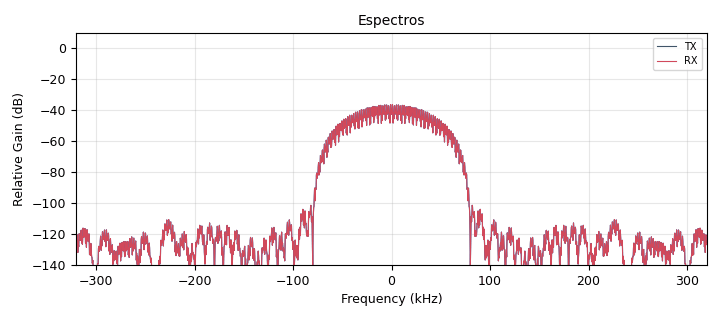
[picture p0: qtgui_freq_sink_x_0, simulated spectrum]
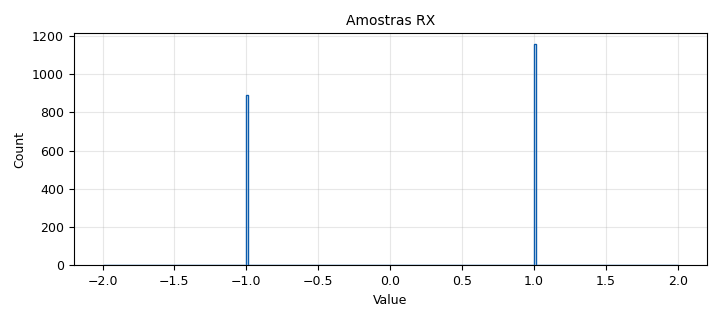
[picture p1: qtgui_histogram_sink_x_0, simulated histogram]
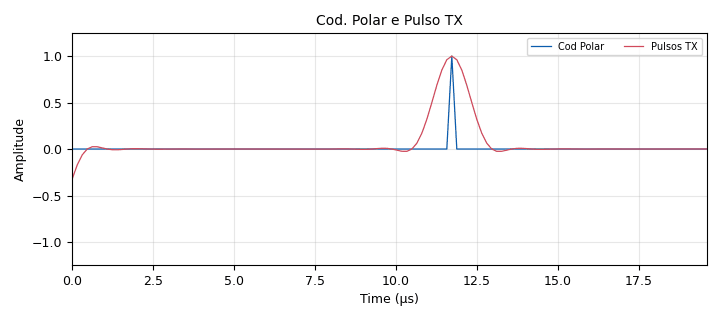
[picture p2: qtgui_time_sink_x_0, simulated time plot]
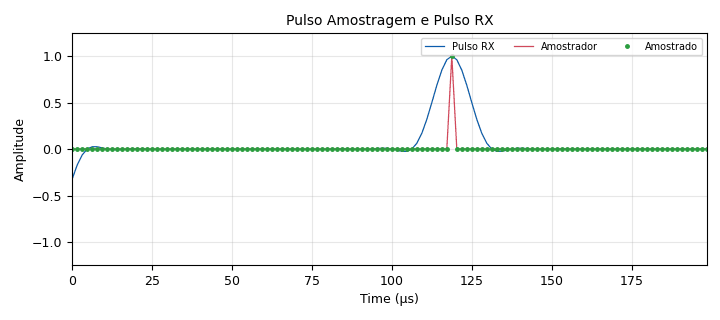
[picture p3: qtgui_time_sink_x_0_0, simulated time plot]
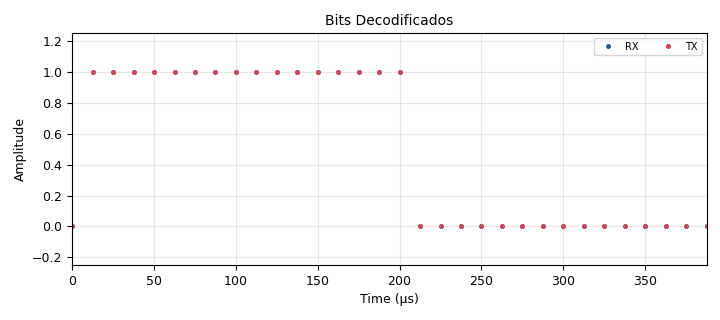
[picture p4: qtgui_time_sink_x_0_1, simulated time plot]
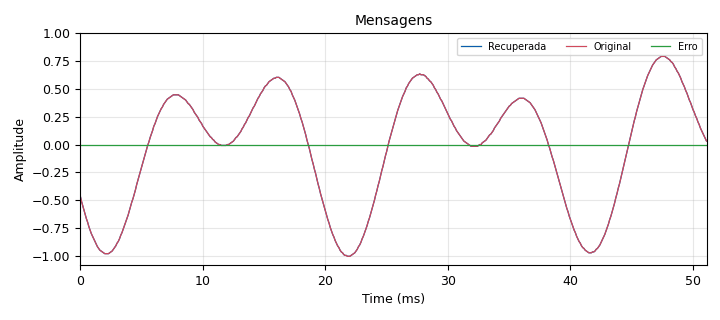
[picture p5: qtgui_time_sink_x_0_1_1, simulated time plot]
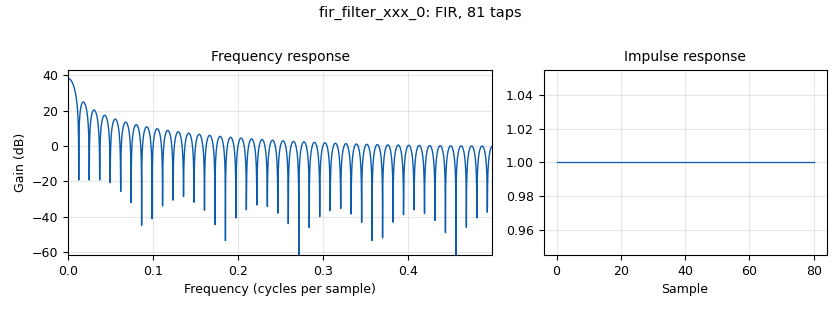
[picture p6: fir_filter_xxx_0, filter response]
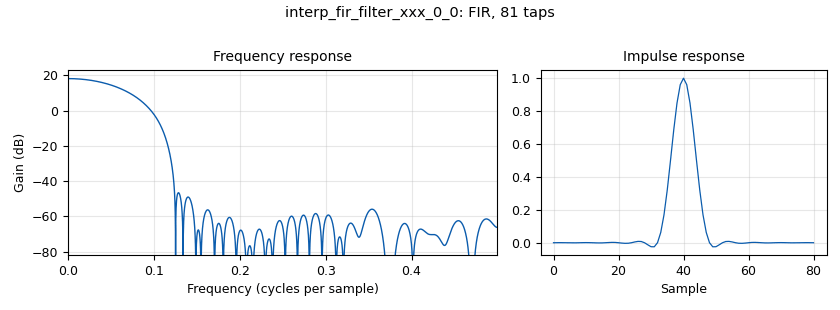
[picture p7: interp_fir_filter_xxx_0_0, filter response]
<?xml version='1.0' encoding='utf-8'?>
<?grc format='1' created='3.7.13'?>
<flow_graph>
<block>
<key>options</key>
<param><key>id</key><value>top_block</value></param>
<param><key>generate_options</key><value>qt_gui</value></param>
</block>
<block>
<key>variable</key>
<param><key>id</key><value>C_1</value></param>
<param><key>value</key><value>np.array([0.0000, 0.0001, 0.0002, 0.0001, -0.0000, -0.0001, -0.0002, -0.0002, 0.0000, 0.0002, 0.0003, 0.0002, -0.0000, -0.0003, -0.0005, -0.0004, 0.0000, 0.0005, 0.0008, 0.0007, -0.0000, -0.0009, -0.0015, -0.0013, 0.0000, 0.0019, 0.0033, 0.0030, -0.0000, -0.0051, -0.0099, -0.0101, 0.0000, 0.0255, 0.0693, 0.1307, 0.2041, 0.2800, 0.3465, 0.3921,0.4082, 0.3921, 0.3465, 0.2800, 0.2041, 0.1307, 0.0693, 0.0255, 0.0000,-0.0101, -0.0099, -0.0051, -0.0000, 0.0030, 0.0033, 0.0019, 0.0000, -0.0013, -0.0015, -0.0009, -0.0000, 0.0007, 0.0008, 0.0005, 0.0000, -0.0004, -0.0005, -0.0003, -0.0000, 0.0002, 0.0003, 0.0002, 0.0000, -0.0002, -0.0002, -0.0001, -0.0000, 0.0001, 0.0002, 0.0001,0.0000])/0.4082</value></param>
</block>
<block>
<key>variable</key>
<param><key>id</key><value>C_2</value></param>
<param><key>value</key><value>np.array([0.0000, -0.0001, -0.0003, -0.0007, -0.0010, -0.0012, -0.0011, -0.0007, 0.0000, 0.0008, 0.0016, 0.0021, 0.0022,0.0018, 0.0010, 0.0003, 0.0000, 0.0004, 0.0018, 0.0040,0.0065, 0.0084, 0.0086, 0.0060, -0.0000, -0.0096, -0.0218, -0.0347, -0.0454, -0.0504, -0.0463, -0.0301, 0.0000, 0.0438,0.0992, 0.1621, 0.2269, 0.2868, 0.3353, 0.3670, 0.3780,0.3670, 0.3353, 0.2868, 0.2269, 0.1621, 0.0992, 0.0438,0.0000, -0.0301, -0.0463, -0.0504, -0.0454, -0.0347, -0.0218, -0.0096, -0.0000, 0.0060, 0.0086, 0.0084, 0.0065, 0.0040,0.0018, 0.0004, 0.0000, 0.0003, 0.0010, 0.0018, 0.0022,0.0021, 0.0016, 0.0008, 0.0000, -0.0007, -0.0011, -0.0012, -0.0010, -0.0007, -0.0003, -0.0001, 0.0000])/0.3780</value></param>
</block>
<block>
<key>variable</key>
<param><key>id</key><value>C_3</value></param>
<param><key>value</key><value>np.array([0.0000, 0.0071, 0.0137, 0.0186, 0.0209, 0.0201,0.0160, 0.0090, -0.0000, -0.0098, -0.0188, -0.0257, -0.0290, -0.0281, -0.0225, -0.0128, 0.0000, 0.0141, 0.0273, 0.0377,0.0431, 0.0421, 0.0342, 0.0197, -0.0000, -0.0226, -0.0448, -0.0633, -0.0746, -0.0754, -0.0637, -0.0384, 0.0000, 0.0496,0.1071, 0.1682, 0.2279, 0.2810, 0.3229, 0.3496, 0.3588,0.3496, 0.3229, 0.2810, 0.2279, 0.1682, 0.1071, 0.0496,0.0000, -0.0384, -0.0637, -0.0754, -0.0746, -0.0633, -0.0448, -0.0226, -0.0000, 0.0197, 0.0342, 0.0421, 0.0431, 0.0377,0.0273, 0.0141, 0.0000, -0.0128, -0.0225, -0.0281, -0.0290, -0.0257, -0.0188, -0.0098, -0.0000, 0.0090, 0.0160, 0.0201,0.0209, 0.0186, 0.0137, 0.0071, 0.0000])/0.3588</value></param>
</block>
<block>
<key>variable</key>
<param><key>id</key><value>Iterp_rate</value></param>
<param><key>value</key><value>len(C_1)</value></param>
</block>
<block>
<key>variable</key>
<param><key>id</key><value>NPTS</value></param>
<param><key>value</key><value>8</value></param>
</block>
<block>
<key>variable</key>
<param><key>id</key><value>R_NRZ</value></param>
<param><key>value</key><value>8*[1]</value></param>
</block>
<block>
<key>variable</key>
<param><key>id</key><value>R_RZ</value></param>
<param><key>value</key><value>4*[1]+4*[0]</value></param>
</block>
<block>
<key>variable_qtgui_range</key>
<param><key>id</key><value>Sigma</value></param>
<param><key>value</key><value>0</value></param>
<param><key>gui_hint</key><value>3,0,1,3</value></param>
<param><key>orient</key><value>Qt.Horizontal</value></param>
<param><key>start</key><value>0</value></param>
<param><key>step</key><value>0.02</value></param>
<param><key>stop</key><value>2</value></param>
</block>
<block>
<key>variable</key>
<param><key>id</key><value>samp_rate</value></param>
<param><key>value</key><value>10000</value></param>
</block>
<block>
<key>analog_noise_source_x</key>
<param><key>id</key><value>analog_noise_source_x_0</value></param>
<param><key>amp</key><value>Sigma</value></param>
<param><key>noise_type</key><value>analog.GR_GAUSSIAN</value></param>
<param><key>type</key><value>float</value></param>
<param><key>seed</key><value>0</value></param>
</block>
<block>
<key>analog_sig_source_x</key>
<param><key>id</key><value>analog_sig_source_x_0</value></param>
<param><key>amp</key><value>0.5</value></param>
<param><key>freq</key><value>100</value></param>
<param><key>offset</key><value>0</value></param>
<param><key>type</key><value>float</value></param>
<param><key>samp_rate</key><value>samp_rate</value></param>
<param><key>waveform</key><value>analog.GR_COS_WAVE</value></param>
</block>
<block>
<key>analog_sig_source_x</key>
<param><key>id</key><value>analog_sig_source_x_0_0</value></param>
<param><key>amp</key><value>0.5</value></param>
<param><key>freq</key><value>53</value></param>
<param><key>offset</key><value>0</value></param>
<param><key>type</key><value>float</value></param>
<param><key>samp_rate</key><value>samp_rate</value></param>
<param><key>waveform</key><value>analog.GR_COS_WAVE</value></param>
</block>
<block>
<key>blocks_abs_xx</key>
<param><key>id</key><value>blocks_abs_xx_0</value></param>
<param><key>type</key><value>float</value></param>
</block>
<block>
<key>blocks_add_const_vxx</key>
<param><key>id</key><value>blocks_add_const_vxx_0</value></param>
<param><key>const</key><value>-0.5</value></param>
<param><key>type</key><value>float</value></param>
</block>
<block>
<key>blocks_add_const_vxx</key>
<param><key>id</key><value>blocks_add_const_vxx_1</value></param>
<param><key>const</key><value>1</value></param>
<param><key>type</key><value>float</value></param>
</block>
<block>
<key>blocks_add_xx</key>
<param><key>id</key><value>blocks_add_xx_0</value></param>
<param><key>type</key><value>float</value></param>
</block>
<block>
<key>blocks_add_xx</key>
<param><key>id</key><value>blocks_add_xx_0_0</value></param>
<param><key>type</key><value>float</value></param>
</block>
<block>
<key>blocks_char_to_float</key>
<param><key>id</key><value>blocks_char_to_float_0</value></param>
<param><key>scale</key><value>1</value></param>
</block>
<block>
<key>blocks_char_to_float</key>
<param><key>id</key><value>blocks_char_to_float_0_0</value></param>
<param><key>scale</key><value>128</value></param>
</block>
<block>
<key>blocks_delay</key>
<param><key>id</key><value>blocks_delay_0</value></param>
<param><key>delay</key><value>Iterp_rate/2</value></param>
<param><key>type</key><value>float</value></param>
</block>
<block>
<key>blocks_delay</key>
<param><key>id</key><value>blocks_delay_1</value></param>
<param><key>delay</key><value>1</value></param>
<param><key>type</key><value>float</value></param>
</block>
<block>
<key>blocks_delay</key>
<param><key>id</key><value>blocks_delay_1_0</value></param>
<param><key>delay</key><value>7</value></param>
<param><key>type</key><value>float</value></param>
</block>
<block>
<key>blocks_delay</key>
<param><key>id</key><value>blocks_delay_1_0_0</value></param>
<param><key>delay</key><value>1</value></param>
<param><key>type</key><value>float</value></param>
</block>
<block>
<key>blocks_delay</key>
<param><key>id</key><value>blocks_delay_2</value></param>
<param><key>delay</key><value>81</value></param>
<param><key>type</key><value>float</value></param>
</block>
<block>
<key>blocks_delay</key>
<param><key>id</key><value>blocks_delay_2_0</value></param>
<param><key>delay</key><value>6*81</value></param>
<param><key>type</key><value>float</value></param>
</block>
<block>
<key>blocks_delay</key>
<param><key>id</key><value>blocks_delay_2_0_0</value></param>
<param><key>delay</key><value>9*81</value></param>
<param><key>type</key><value>float</value></param>
</block>
<block>
<key>blocks_delay</key>
<param><key>id</key><value>blocks_delay_2_1</value></param>
<param><key>delay</key><value>5*81</value></param>
<param><key>type</key><value>float</value></param>
</block>
<block>
<key>blocks_delay</key>
<param><key>id</key><value>blocks_delay_2_1_0</value></param>
<param><key>delay</key><value>8*81</value></param>
<param><key>type</key><value>float</value></param>
</block>
<block>
<key>blocks_delay</key>
<param><key>id</key><value>blocks_delay_2_2</value></param>
<param><key>delay</key><value>4*81</value></param>
<param><key>type</key><value>float</value></param>
</block>
<block>
<key>blocks_delay</key>
<param><key>id</key><value>blocks_delay_2_2_0</value></param>
<param><key>delay</key><value>7*81</value></param>
<param><key>type</key><value>float</value></param>
</block>
<block>
<key>blocks_delay</key>
<param><key>id</key><value>blocks_delay_2_3</value></param>
<param><key>delay</key><value>3*81</value></param>
<param><key>type</key><value>float</value></param>
</block>
<block>
<key>blocks_delay</key>
<param><key>id</key><value>blocks_delay_2_4</value></param>
<param><key>delay</key><value>2*81</value></param>
<param><key>type</key><value>float</value></param>
</block>
<block>
<key>blocks_float_to_char</key>
<param><key>id</key><value>blocks_float_to_char_0</value></param>
<param><key>scale</key><value>128</value></param>
</block>
<block>
<key>blocks_float_to_char</key>
<param><key>id</key><value>blocks_float_to_char_0_0</value></param>
<param><key>scale</key><value>1</value></param>
</block>
<block>
<key>blocks_multiply_const_vxx</key>
<param><key>id</key><value>blocks_multiply_const_vxx_0</value></param>
<param><key>const</key><value>2</value></param>
<param><key>type</key><value>float</value></param>
</block>
<block>
<key>blocks_multiply_const_vxx</key>
<param><key>id</key><value>blocks_multiply_const_vxx_0_0</value></param>
<param><key>const</key><value>0.5</value></param>
<param><key>type</key><value>float</value></param>
</block>
<block>
<key>blocks_multiply_xx</key>
<param><key>id</key><value>blocks_multiply_xx_0</value></param>
<param><key>type</key><value>float</value></param>
</block>
<block>
<key>blocks_pack_k_bits_bb</key>
<param><key>id</key><value>blocks_pack_k_bits_bb_0</value></param>
<param><key>k</key><value>NPTS</value></param>
</block>
<block>
<key>blocks_sub_xx</key>
<param><key>id</key><value>blocks_sub_xx_0</value></param>
<param><key>_enabled</key><value>0</value></param>
<param><key>type</key><value>float</value></param>
</block>
<block>
<key>blocks_sub_xx</key>
<param><key>id</key><value>blocks_sub_xx_1</value></param>
<param><key>type</key><value>float</value></param>
</block>
<block>
<key>blocks_throttle</key>
<param><key>id</key><value>blocks_throttle_0</value></param>
<param><key>samples_per_second</key><value>samp_rate</value></param>
<param><key>type</key><value>float</value></param>
</block>
<block>
<key>blocks_unpack_k_bits_bb</key>
<param><key>id</key><value>blocks_unpack_k_bits_bb_0</value></param>
<param><key>k</key><value>NPTS</value></param>
</block>
<block>
<key>channels_quantizer</key>
<param><key>id</key><value>channels_quantizer_0</value></param>
<param><key>bits</key><value>NPTS</value></param>
</block>
<block>
<key>epy_block</key>
<param><key>id</key><value>epy_block_0</value></param>
<param><key>_source_code</key><value>"""
Embedded Python Blocks:

Each time this file is saved, GRC will instantiate the first class it finds
to get ports and parameters of your block. The arguments to __init__  will
be the parameters. All of them are required to have default values!
"""

import numpy as np
from gnuradio import gr


class blk(gr.sync_block):

    def __init__(self, passo=1):
        gr.sync_block.__init__(
            self,
            name='Decisor: SGN(in)',   # will show up in GRC
            in_sig=[np.float32],
            out_sig=[np.float32]
        )
        # if an attribute with the same name as a parameter is found,
        # a callback is registered (properties work, too).
        self.passo = passo

    def work(self, input_items, output_items):
        """example: multiply with constant"""
        output_items[0][:] = np.sign(input_items[0]) * self.passo
        return len(output_items[0])
</value></param>
<param><key>passo</key><value>1</value></param>
</block>
<block>
<key>fir_filter_xxx</key>
<param><key>id</key><value>fir_filter_xxx_0</value></param>
<param><key>decim</key><value>Iterp_rate</value></param>
<param><key>taps</key><value>Iterp_rate*[1]</value></param>
<param><key>type</key><value>fff</value></param>
</block>
<block>
<key>import</key>
<param><key>id</key><value>import_0</value></param>
<param><key>import</key><value>import numpy as np</value></param>
</block>
<block>
<key>interp_fir_filter_xxx</key>
<param><key>id</key><value>interp_fir_filter_xxx_0</value></param>
<param><key>interp</key><value>Iterp_rate</value></param>
<param><key>taps</key><value>1*[1]+(Iterp_rate -1)*[0]</value></param>
<param><key>type</key><value>fff</value></param>
</block>
<block>
<key>interp_fir_filter_xxx</key>
<param><key>id</key><value>interp_fir_filter_xxx_0_0</value></param>
<param><key>interp</key><value>Iterp_rate</value></param>
<param><key>taps</key><value>C_1</value></param>
<param><key>type</key><value>fff</value></param>
</block>
<block>
<key>qtgui_freq_sink_x</key>
<param><key>id</key><value>qtgui_freq_sink_x_0</value></param>
<param><key>bw</key><value>samp_rate*NPTS*8</value></param>
<param><key>fc</key><value>0</value></param>
<param><key>fftsize</key><value>2048</value></param>
<param><key>gui_hint</key><value>0,1</value></param>
<param><key>label1</key><value>TX</value></param>
<param><key>label2</key><value>RX</value></param>
<param><key>name</key><value>"Espectros"</value></param>
<param><key>nconnections</key><value>2</value></param>
<param><key>showports</key><value>True</value></param>
<param><key>type</key><value>float</value></param>
<param><key>wintype</key><value>firdes.WIN_BLACKMAN_hARRIS</value></param>
</block>
<block>
<key>qtgui_histogram_sink_x</key>
<param><key>id</key><value>qtgui_histogram_sink_x_0</value></param>
<param><key>accum</key><value>True</value></param>
<param><key>gui_hint</key><value>2,0</value></param>
<param><key>xmax</key><value>2</value></param>
<param><key>xmin</key><value>-2</value></param>
<param><key>name</key><value>"Amostras RX"</value></param>
<param><key>bins</key><value>300</value></param>
<param><key>size</key><value>2048</value></param>
<param><key>type</key><value>float</value></param>
</block>
<block>
<key>qtgui_time_sink_x</key>
<param><key>id</key><value>qtgui_time_sink_x_0</value></param>
<param><key>gui_hint</key><value>0,0</value></param>
<param><key>color1</key><value>"blue"</value></param>
<param><key>label1</key><value>Cod Polar</value></param>
<param><key>color2</key><value>"red"</value></param>
<param><key>label2</key><value>Pulsos TX</value></param>
<param><key>name</key><value>"Cod. Polar e Pulso TX"</value></param>
<param><key>nconnections</key><value>2</value></param>
<param><key>size</key><value>128</value></param>
<param><key>srate</key><value>samp_rate*NPTS*Iterp_rate</value></param>
<param><key>type</key><value>float</value></param>
<param><key>ymax</key><value>1.25</value></param>
<param><key>ymin</key><value>-1.25</value></param>
</block>
<block>
<key>qtgui_time_sink_x</key>
<param><key>id</key><value>qtgui_time_sink_x_0_0</value></param>
<param><key>gui_hint</key><value>0,2</value></param>
<param><key>color1</key><value>"blue"</value></param>
<param><key>label1</key><value>Pulso RX</value></param>
<param><key>color2</key><value>"red"</value></param>
<param><key>label2</key><value>Amostrador</value></param>
<param><key>color3</key><value>"green"</value></param>
<param><key>label3</key><value>Amostrado</value></param>
<param><key>marker3</key><value>0</value></param>
<param><key>style3</key><value>0</value></param>
<param><key>name</key><value>"Pulso Amostragem e Pulso RX"</value></param>
<param><key>nconnections</key><value>3</value></param>
<param><key>size</key><value>128</value></param>
<param><key>srate</key><value>samp_rate*NPTS*8</value></param>
<param><key>type</key><value>float</value></param>
<param><key>ymax</key><value>1.25</value></param>
<param><key>ymin</key><value>-1.25</value></param>
</block>
<block>
<key>qtgui_time_sink_x</key>
<param><key>id</key><value>qtgui_time_sink_x_0_1</value></param>
<param><key>gui_hint</key><value>1,0</value></param>
<param><key>color1</key><value>"blue"</value></param>
<param><key>label1</key><value>RX</value></param>
<param><key>marker1</key><value>0</value></param>
<param><key>style1</key><value>0</value></param>
<param><key>color2</key><value>"red"</value></param>
<param><key>label2</key><value>TX</value></param>
<param><key>marker2</key><value>0</value></param>
<param><key>style2</key><value>0</value></param>
<param><key>name</key><value>"Bits Decodificados"</value></param>
<param><key>nconnections</key><value>2</value></param>
<param><key>size</key><value>32</value></param>
<param><key>srate</key><value>samp_rate*NPTS</value></param>
<param><key>type</key><value>float</value></param>
<param><key>ymax</key><value>1.25</value></param>
<param><key>ymin</key><value>-0.25</value></param>
</block>
<block>
<key>qtgui_time_sink_x</key>
<param><key>id</key><value>qtgui_time_sink_x_0_1_0</value></param>
<param><key>_enabled</key><value>0</value></param>
<param><key>gui_hint</key><value>1,1</value></param>
<param><key>color1</key><value>"blue"</value></param>
<param><key>label1</key><value>Bit errado</value></param>
<param><key>marker1</key><value>0</value></param>
<param><key>name</key><value>"Bits Errados"</value></param>
<param><key>size</key><value>64</value></param>
<param><key>srate</key><value>samp_rate*NPTS</value></param>
<param><key>type</key><value>float</value></param>
</block>
<block>
<key>qtgui_time_sink_x</key>
<param><key>id</key><value>qtgui_time_sink_x_0_1_1</value></param>
<param><key>gui_hint</key><value>1,2</value></param>
<param><key>color1</key><value>"blue"</value></param>
<param><key>label1</key><value>Recuperada</value></param>
<param><key>color2</key><value>"red"</value></param>
<param><key>label2</key><value>Original</value></param>
<param><key>color3</key><value>"green"</value></param>
<param><key>label3</key><value>Erro</value></param>
<param><key>name</key><value>"Mensagens"</value></param>
<param><key>nconnections</key><value>3</value></param>
<param><key>size</key><value>512</value></param>
<param><key>srate</key><value>samp_rate</value></param>
<param><key>type</key><value>float</value></param>
</block>
<block>
<key>qtgui_time_sink_x</key>
<param><key>id</key><value>qtgui_time_sink_x_0_2</value></param>
<param><key>gui_hint</key><value>1,1</value></param>
<param><key>color1</key><value>"black"</value></param>
<param><key>label1</key><value>Cod Polar</value></param>
<param><key>color10</key><value>"black"</value></param>
<param><key>label10</key><value></value></param>
<param><key>color2</key><value>"black"</value></param>
<param><key>label2</key><value>Pulsos TX</value></param>
<param><key>color3</key><value>"black"</value></param>
<param><key>label3</key><value></value></param>
<param><key>color4</key><value>"black"</value></param>
<param><key>label4</key><value></value></param>
<param><key>color5</key><value>"black"</value></param>
<param><key>label5</key><value></value></param>
<param><key>color6</key><value>"black"</value></param>
<param><key>label6</key><value></value></param>
<param><key>color7</key><value>"black"</value></param>
<param><key>label7</key><value></value></param>
<param><key>color8</key><value>"black"</value></param>
<param><key>label8</key><value></value></param>
<param><key>color9</key><value>"black"</value></param>
<param><key>label9</key><value></value></param>
<param><key>name</key><value>"Diagrama de olho"</value></param>
<param><key>nconnections</key><value>10</value></param>
<param><key>size</key><value>81</value></param>
<param><key>srate</key><value>samp_rate*NPTS*8</value></param>
<param><key>type</key><value>float</value></param>
<param><key>ymax</key><value>1.25</value></param>
<param><key>ymin</key><value>-1.25</value></param>
</block>
<block>
<key>virtual_sink</key>
<param><key>id</key><value>virtual_sink_0</value></param>
<param><key>stream_id</key><value>MSG_Quantizada</value></param>
</block>
<block>
<key>virtual_sink</key>
<param><key>id</key><value>virtual_sink_0_0</value></param>
<param><key>stream_id</key><value>Bits_TX</value></param>
</block>
<block>
<key>virtual_sink</key>
<param><key>id</key><value>virtual_sink_0_0_0</value></param>
<param><key>stream_id</key><value>Amostragem</value></param>
</block>
<block>
<key>virtual_sink</key>
<param><key>id</key><value>virtual_sink_0_0_0_0</value></param>
<param><key>stream_id</key><value>Pulso_TX</value></param>
</block>
<block>
<key>virtual_sink</key>
<param><key>id</key><value>virtual_sink_0_0_0_1</value></param>
<param><key>stream_id</key><value>Amostras_RX</value></param>
</block>
<block>
<key>virtual_sink</key>
<param><key>id</key><value>virtual_sink_0_0_0_1_0</value></param>
<param><key>stream_id</key><value>Bits_RX</value></param>
</block>
<block>
<key>virtual_source</key>
<param><key>id</key><value>virtual_source_0</value></param>
<param><key>stream_id</key><value>Pulso_TX</value></param>
</block>
<block>
<key>virtual_source</key>
<param><key>id</key><value>virtual_source_0_0</value></param>
<param><key>stream_id</key><value>Amostragem</value></param>
</block>
<block>
<key>virtual_source</key>
<param><key>id</key><value>virtual_source_0_0_0</value></param>
<param><key>stream_id</key><value>Amostras_RX</value></param>
</block>
<block>
<key>virtual_source</key>
<param><key>id</key><value>virtual_source_0_0_0_0</value></param>
<param><key>stream_id</key><value>Bits_TX</value></param>
</block>
<block>
<key>virtual_source</key>
<param><key>id</key><value>virtual_source_0_0_0_0_0</value></param>
<param><key>_enabled</key><value>0</value></param>
<param><key>stream_id</key><value>Bits_RX</value></param>
</block>
<block>
<key>virtual_source</key>
<param><key>id</key><value>virtual_source_0_0_0_1</value></param>
<param><key>stream_id</key><value>MSG_Quantizada</value></param>
</block>
<connection><source_block_id>analog_noise_source_x_0</source_block_id><sink_block_id>blocks_add_xx_0_0</sink_block_id><source_key>0</source_key><sink_key>1</sink_key></connection>
<connection><source_block_id>analog_sig_source_x_0</source_block_id><sink_block_id>blocks_throttle_0</sink_block_id><source_key>0</source_key><sink_key>0</sink_key></connection>
<connection><source_block_id>analog_sig_source_x_0_0</source_block_id><sink_block_id>blocks_add_xx_0</sink_block_id><source_key>0</source_key><sink_key>1</sink_key></connection>
<connection><source_block_id>blocks_abs_xx_0</source_block_id><sink_block_id>blocks_multiply_xx_0</sink_block_id><source_key>0</source_key><sink_key>1</sink_key></connection>
<connection><source_block_id>blocks_abs_xx_0</source_block_id><sink_block_id>qtgui_time_sink_x_0_0</sink_block_id><source_key>0</source_key><sink_key>1</sink_key></connection>
<connection><source_block_id>blocks_add_const_vxx_0</source_block_id><sink_block_id>blocks_multiply_const_vxx_0</sink_block_id><source_key>0</source_key><sink_key>0</sink_key></connection>
<connection><source_block_id>blocks_add_const_vxx_1</source_block_id><sink_block_id>blocks_multiply_const_vxx_0_0</sink_block_id><source_key>0</source_key><sink_key>0</sink_key></connection>
<connection><source_block_id>blocks_add_xx_0</source_block_id><sink_block_id>channels_quantizer_0</sink_block_id><source_key>0</source_key><sink_key>0</sink_key></connection>
<connection><source_block_id>blocks_add_xx_0_0</source_block_id><sink_block_id>blocks_multiply_xx_0</sink_block_id><source_key>0</source_key><sink_key>0</sink_key></connection>
<connection><source_block_id>blocks_add_xx_0_0</source_block_id><sink_block_id>qtgui_freq_sink_x_0</sink_block_id><source_key>0</source_key><sink_key>1</sink_key></connection>
<connection><source_block_id>blocks_add_xx_0_0</source_block_id><sink_block_id>qtgui_time_sink_x_0_0</sink_block_id><source_key>0</source_key><sink_key>0</sink_key></connection>
<connection><source_block_id>blocks_char_to_float_0</source_block_id><sink_block_id>blocks_add_const_vxx_0</sink_block_id><source_key>0</source_key><sink_key>0</sink_key></connection>
<connection><source_block_id>blocks_char_to_float_0</source_block_id><sink_block_id>virtual_sink_0_0</sink_block_id><source_key>0</source_key><sink_key>0</sink_key></connection>
<connection><source_block_id>blocks_char_to_float_0_0</source_block_id><sink_block_id>blocks_sub_xx_1</sink_block_id><source_key>0</source_key><sink_key>0</sink_key></connection>
<connection><source_block_id>blocks_char_to_float_0_0</source_block_id><sink_block_id>qtgui_time_sink_x_0_1_1</sink_block_id><source_key>0</source_key><sink_key>0</sink_key></connection>
<connection><source_block_id>blocks_delay_0</source_block_id><sink_block_id>qtgui_time_sink_x_0</sink_block_id><source_key>0</source_key><sink_key>0</sink_key></connection>
<connection><source_block_id>blocks_delay_0</source_block_id><sink_block_id>virtual_sink_0_0_0</sink_block_id><source_key>0</source_key><sink_key>0</sink_key></connection>
<connection><source_block_id>blocks_delay_1</source_block_id><sink_block_id>blocks_sub_xx_0</sink_block_id><source_key>0</source_key><sink_key>0</sink_key></connection>
<connection><source_block_id>blocks_delay_1</source_block_id><sink_block_id>qtgui_time_sink_x_0_1</sink_block_id><source_key>0</source_key><sink_key>1</sink_key></connection>
<connection><source_block_id>blocks_delay_1_0</source_block_id><sink_block_id>blocks_float_to_char_0_0</sink_block_id><source_key>0</source_key><sink_key>0</sink_key></connection>
<connection><source_block_id>blocks_delay_1_0_0</source_block_id><sink_block_id>blocks_sub_xx_1</sink_block_id><source_key>0</source_key><sink_key>1</sink_key></connection>
<connection><source_block_id>blocks_delay_1_0_0</source_block_id><sink_block_id>qtgui_time_sink_x_0_1_1</sink_block_id><source_key>0</source_key><sink_key>1</sink_key></connection>
<connection><source_block_id>blocks_delay_2</source_block_id><sink_block_id>qtgui_time_sink_x_0_2</sink_block_id><source_key>0</source_key><sink_key>1</sink_key></connection>
<connection><source_block_id>blocks_delay_2_0</source_block_id><sink_block_id>qtgui_time_sink_x_0_2</sink_block_id><source_key>0</source_key><sink_key>6</sink_key></connection>
<connection><source_block_id>blocks_delay_2_0_0</source_block_id><sink_block_id>qtgui_time_sink_x_0_2</sink_block_id><source_key>0</source_key><sink_key>9</sink_key></connection>
<connection><source_block_id>blocks_delay_2_1</source_block_id><sink_block_id>qtgui_time_sink_x_0_2</sink_block_id><source_key>0</source_key><sink_key>5</sink_key></connection>
<connection><source_block_id>blocks_delay_2_1_0</source_block_id><sink_block_id>qtgui_time_sink_x_0_2</sink_block_id><source_key>0</source_key><sink_key>8</sink_key></connection>
<connection><source_block_id>blocks_delay_2_2</source_block_id><sink_block_id>qtgui_time_sink_x_0_2</sink_block_id><source_key>0</source_key><sink_key>4</sink_key></connection>
<connection><source_block_id>blocks_delay_2_2_0</source_block_id><sink_block_id>qtgui_time_sink_x_0_2</sink_block_id><source_key>0</source_key><sink_key>7</sink_key></connection>
<connection><source_block_id>blocks_delay_2_3</source_block_id><sink_block_id>qtgui_time_sink_x_0_2</sink_block_id><source_key>0</source_key><sink_key>3</sink_key></connection>
<connection><source_block_id>blocks_delay_2_4</source_block_id><sink_block_id>qtgui_time_sink_x_0_2</sink_block_id><source_key>0</source_key><sink_key>2</sink_key></connection>
<connection><source_block_id>blocks_float_to_char_0</source_block_id><sink_block_id>blocks_unpack_k_bits_bb_0</sink_block_id><source_key>0</source_key><sink_key>0</sink_key></connection>
<connection><source_block_id>blocks_float_to_char_0_0</source_block_id><sink_block_id>blocks_pack_k_bits_bb_0</sink_block_id><source_key>0</source_key><sink_key>0</sink_key></connection>
<connection><source_block_id>blocks_multiply_const_vxx_0</source_block_id><sink_block_id>interp_fir_filter_xxx_0</sink_block_id><source_key>0</source_key><sink_key>0</sink_key></connection>
<connection><source_block_id>blocks_multiply_const_vxx_0</source_block_id><sink_block_id>interp_fir_filter_xxx_0_0</sink_block_id><source_key>0</source_key><sink_key>0</sink_key></connection>
<connection><source_block_id>blocks_multiply_const_vxx_0_0</source_block_id><sink_block_id>blocks_delay_1_0</sink_block_id><source_key>0</source_key><sink_key>0</sink_key></connection>
<connection><source_block_id>blocks_multiply_const_vxx_0_0</source_block_id><sink_block_id>qtgui_time_sink_x_0_1</sink_block_id><source_key>0</source_key><sink_key>0</sink_key></connection>
<connection><source_block_id>blocks_multiply_const_vxx_0_0</source_block_id><sink_block_id>virtual_sink_0_0_0_1_0</sink_block_id><source_key>0</source_key><sink_key>0</sink_key></connection>
<connection><source_block_id>blocks_multiply_xx_0</source_block_id><sink_block_id>fir_filter_xxx_0</sink_block_id><source_key>0</source_key><sink_key>0</sink_key></connection>
<connection><source_block_id>blocks_multiply_xx_0</source_block_id><sink_block_id>qtgui_time_sink_x_0_0</sink_block_id><source_key>0</source_key><sink_key>2</sink_key></connection>
<connection><source_block_id>blocks_pack_k_bits_bb_0</source_block_id><sink_block_id>blocks_char_to_float_0_0</sink_block_id><source_key>0</source_key><sink_key>0</sink_key></connection>
<connection><source_block_id>blocks_sub_xx_0</source_block_id><sink_block_id>qtgui_time_sink_x_0_1_0</sink_block_id><source_key>0</source_key><sink_key>0</sink_key></connection>
<connection><source_block_id>blocks_sub_xx_1</source_block_id><sink_block_id>qtgui_time_sink_x_0_1_1</sink_block_id><source_key>0</source_key><sink_key>2</sink_key></connection>
<connection><source_block_id>blocks_throttle_0</source_block_id><sink_block_id>blocks_add_xx_0</sink_block_id><source_key>0</source_key><sink_key>0</sink_key></connection>
<connection><source_block_id>blocks_unpack_k_bits_bb_0</source_block_id><sink_block_id>blocks_char_to_float_0</sink_block_id><source_key>0</source_key><sink_key>0</sink_key></connection>
<connection><source_block_id>channels_quantizer_0</source_block_id><sink_block_id>blocks_float_to_char_0</sink_block_id><source_key>0</source_key><sink_key>0</sink_key></connection>
<connection><source_block_id>channels_quantizer_0</source_block_id><sink_block_id>virtual_sink_0</sink_block_id><source_key>0</source_key><sink_key>0</sink_key></connection>
<connection><source_block_id>epy_block_0</source_block_id><sink_block_id>blocks_add_const_vxx_1</sink_block_id><source_key>0</source_key><sink_key>0</sink_key></connection>
<connection><source_block_id>fir_filter_xxx_0</source_block_id><sink_block_id>qtgui_histogram_sink_x_0</sink_block_id><source_key>0</source_key><sink_key>0</sink_key></connection>
<connection><source_block_id>fir_filter_xxx_0</source_block_id><sink_block_id>virtual_sink_0_0_0_1</sink_block_id><source_key>0</source_key><sink_key>0</sink_key></connection>
<connection><source_block_id>interp_fir_filter_xxx_0</source_block_id><sink_block_id>blocks_delay_0</sink_block_id><source_key>0</source_key><sink_key>0</sink_key></connection>
<connection><source_block_id>interp_fir_filter_xxx_0_0</source_block_id><sink_block_id>blocks_delay_2</sink_block_id><source_key>0</source_key><sink_key>0</sink_key></connection>
<connection><source_block_id>interp_fir_filter_xxx_0_0</source_block_id><sink_block_id>blocks_delay_2_0</sink_block_id><source_key>0</source_key><sink_key>0</sink_key></connection>
<connection><source_block_id>interp_fir_filter_xxx_0_0</source_block_id><sink_block_id>blocks_delay_2_0_0</sink_block_id><source_key>0</source_key><sink_key>0</sink_key></connection>
<connection><source_block_id>interp_fir_filter_xxx_0_0</source_block_id><sink_block_id>blocks_delay_2_1</sink_block_id><source_key>0</source_key><sink_key>0</sink_key></connection>
<connection><source_block_id>interp_fir_filter_xxx_0_0</source_block_id><sink_block_id>blocks_delay_2_1_0</sink_block_id><source_key>0</source_key><sink_key>0</sink_key></connection>
<connection><source_block_id>interp_fir_filter_xxx_0_0</source_block_id><sink_block_id>blocks_delay_2_2</sink_block_id><source_key>0</source_key><sink_key>0</sink_key></connection>
<connection><source_block_id>interp_fir_filter_xxx_0_0</source_block_id><sink_block_id>blocks_delay_2_2_0</sink_block_id><source_key>0</source_key><sink_key>0</sink_key></connection>
<connection><source_block_id>interp_fir_filter_xxx_0_0</source_block_id><sink_block_id>blocks_delay_2_3</sink_block_id><source_key>0</source_key><sink_key>0</sink_key></connection>
<connection><source_block_id>interp_fir_filter_xxx_0_0</source_block_id><sink_block_id>blocks_delay_2_4</sink_block_id><source_key>0</source_key><sink_key>0</sink_key></connection>
<connection><source_block_id>interp_fir_filter_xxx_0_0</source_block_id><sink_block_id>qtgui_freq_sink_x_0</sink_block_id><source_key>0</source_key><sink_key>0</sink_key></connection>
<connection><source_block_id>interp_fir_filter_xxx_0_0</source_block_id><sink_block_id>qtgui_time_sink_x_0</sink_block_id><source_key>0</source_key><sink_key>1</sink_key></connection>
<connection><source_block_id>interp_fir_filter_xxx_0_0</source_block_id><sink_block_id>qtgui_time_sink_x_0_2</sink_block_id><source_key>0</source_key><sink_key>0</sink_key></connection>
<connection><source_block_id>interp_fir_filter_xxx_0_0</source_block_id><sink_block_id>virtual_sink_0_0_0_0</sink_block_id><source_key>0</source_key><sink_key>0</sink_key></connection>
<connection><source_block_id>virtual_source_0</source_block_id><sink_block_id>blocks_add_xx_0_0</sink_block_id><source_key>0</source_key><sink_key>0</sink_key></connection>
<connection><source_block_id>virtual_source_0_0</source_block_id><sink_block_id>blocks_abs_xx_0</sink_block_id><source_key>0</source_key><sink_key>0</sink_key></connection>
<connection><source_block_id>virtual_source_0_0_0</source_block_id><sink_block_id>epy_block_0</sink_block_id><source_key>0</source_key><sink_key>0</sink_key></connection>
<connection><source_block_id>virtual_source_0_0_0_0</source_block_id><sink_block_id>blocks_delay_1</sink_block_id><source_key>0</source_key><sink_key>0</sink_key></connection>
<connection><source_block_id>virtual_source_0_0_0_0_0</source_block_id><sink_block_id>blocks_sub_xx_0</sink_block_id><source_key>0</source_key><sink_key>1</sink_key></connection>
<connection><source_block_id>virtual_source_0_0_0_1</source_block_id><sink_block_id>blocks_delay_1_0_0</sink_block_id><source_key>0</source_key><sink_key>0</sink_key></connection>
</flow_graph>
